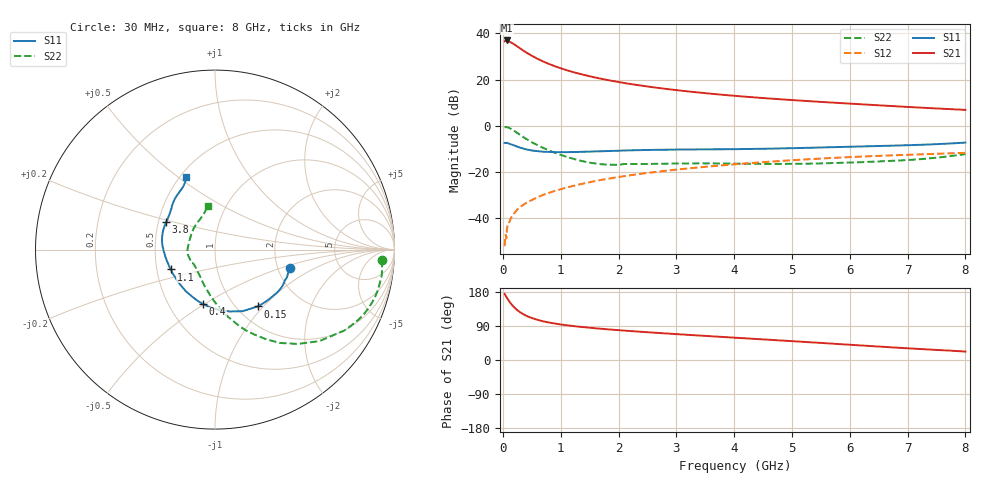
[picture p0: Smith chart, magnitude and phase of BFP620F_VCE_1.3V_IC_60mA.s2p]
! Infineon Technologies  Discrete & RF Semiconductors
! BFP620F
! VCE =  1.3 V,  IC =  60 mA
! Common Emitter S-Parameters:  Dec 2014
# GHz  S  MA  R  50
!  f  S11  S21  S12  S22
! GHz  MAG  ANG  MAG  ANG  MAG  ANG  MAG  ANG
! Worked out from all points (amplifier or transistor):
!   95 points, 30 MHz to 8 GHz, reference 50 ohm
!   highest |S21| = 36.9 dB at 70 MHz (marker M1)
!   |S21| within 3 dB of that: start of sweep to 273.3 MHz
!   unconditionally stable (mu >= 1): 1.756 GHz to end of sweep
!   at 300 MHz: K = 0.54, MSG = 34.3 dB, |S12| = -35.1 dB
!   at 3.3 GHz: K = 1.03, MAG = 15.3 dB, |S12| = -18.2 dB
!   at 8 GHz: K = 1.05, MAG = 7.9 dB, |S12| = -11.7 dB
!   S11 on the Smith chart (normalised r, x): 30 MHz: 2.33, -0.57; 150 MHz: 1.24, -0.93; 400 MHz: 0.74, -0.50; 1.1 GHz: 0.59, -0.14; 3.8 GHz: 0.55, +0.19; 8 GHz: 0.54, +0.54
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0.03  0.4281 -13.6  67.56 174.3  0.0025 81.2  0.9309 -3.6
0.05  0.4297 -20.9  69.76 169.2  0.0044 92.7  0.9401 -8.8
0.07  0.4273 -27.4  70.3 164.2  0.0059 86.4  0.9353 -14.0
0.09  0.421 -34.5  68.79 159.2  0.0075 83.3  0.9217 -19.1
0.11  0.4107 -41.3  66.41 154.7  0.0083 75.6  0.9032 -23.7
0.15  0.3957 -53.2  62.9 146.8  0.0106 75.6  0.8484 -32.2
0.2  0.3762 -65.8  57.41 138.4  0.0131 72.2  0.7737 -41.2
0.25  0.3544 -76.6  52.12 131.5  0.0155 70.1  0.7007 -48.6
0.3  0.3374 -85.9  47.21 125.8  0.0176 69.3  0.6353 -55.0
0.4  0.311 -102.1  38.99 117.1  0.0214 68.9  0.525 -64.8
0.5  0.2932 -114.4  32.82 110.8  0.0248 68.0  0.4441 -72.6
0.7  0.2759 -132.9  24.59 102.0  0.0322 68.1  0.3324 -84.8
0.9  0.2701 -145.8  19.46 96.2  0.039 68.5  0.2619 -95.1
1.1  0.2698 -155.8  16.04 91.7  0.0462 68.5  0.2141 -105.0
1.4  0.2758 -166.7  12.68 86.6  0.0568 67.8  0.1699 -119.8
1.9  0.2873 -179.8  9.345 79.9  0.0746 66.0  0.1438 -144.3
2.7  0.3037 165.7  6.584 71.3  0.1025 61.6  0.1511 -164.2
3.8  0.3116 150.8  4.702 60.8  0.1405 54.5  0.1535 -178.9
4.1  0.3144 147.3  4.37 58.0  0.1504 52.5  0.1519 176.8
5.4  0.3382 135.5  3.359 46.0  0.193 43.0  0.1536 153.1
6.7  0.372 123.7  2.694 33.6  0.2292 32.8  0.1746 127.6
8  0.4347 111.5  2.214 22.3  0.2606 23.0  0.2446 99.2
